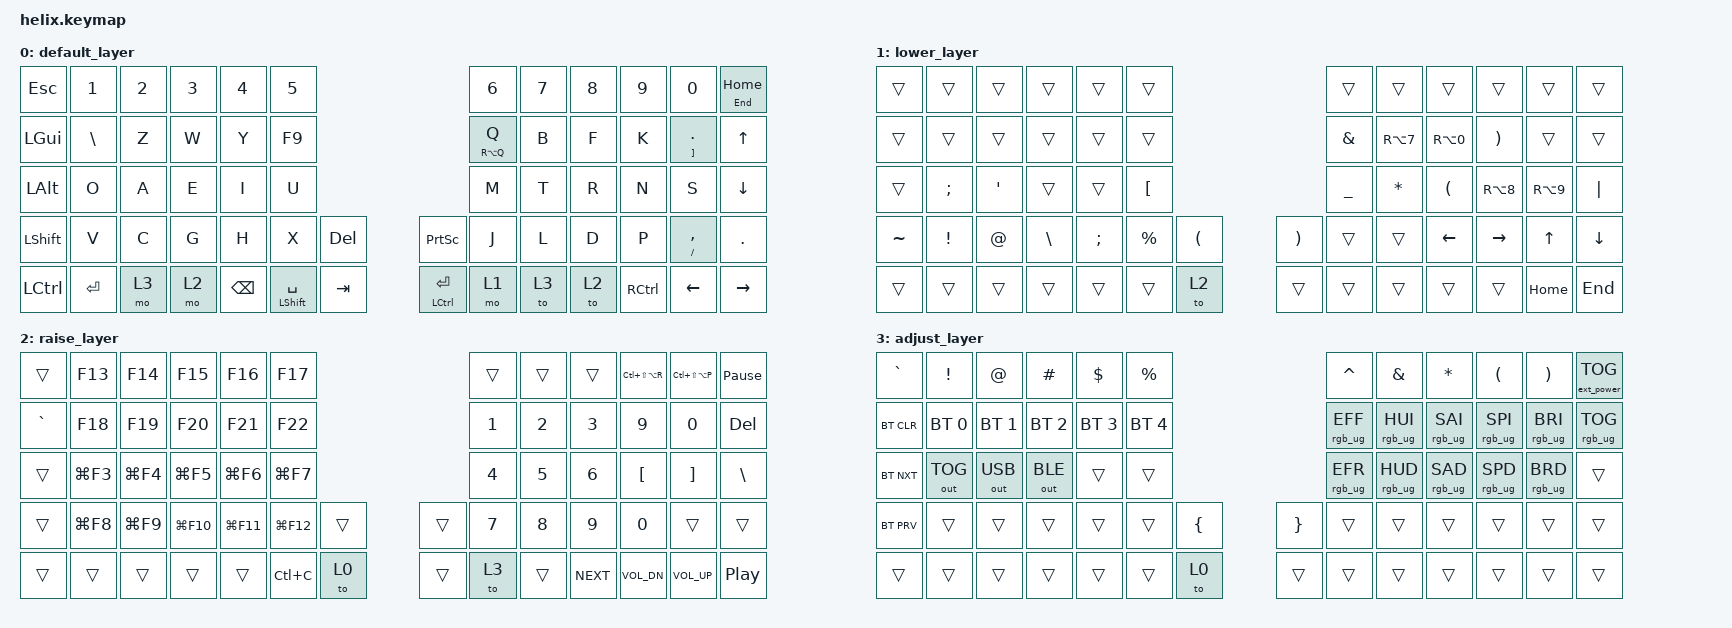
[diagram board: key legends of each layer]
/* Copyright (c) 2020 The ZMK Contributors
 * SPDX-License-Identifier: MIT   */

 #include <behaviors.dtsi>
 #include <dt-bindings/zmk/keys.h>
 #include <dt-bindings/zmk/bt.h>
 #include <dt-bindings/zmk/rgb.h>
 #include <dt-bindings/zmk/ext_power.h>
 #include <dt-bindings/zmk/outputs.h>

&mt {
    flavor = "tap-preferred";
    tapping-term-ms = <400>;
};

/ {    
       behaviors {
        hm: homerow_mods {
            compatible = "zmk,behavior-hold-tap";
            label = "HOMEROW_MODS";
            #binding-cells = <2>;
            tapping-term-ms = <300>;
            quick_tap_ms = <0>;
            flavor = "tap-preferred";
            bindings = <&kp>, <&kp>;
        };
	       td: tapdance {
            compatible = "zmk,behavior-hold-tap";
            label = "TAPDANCE";
            #binding-cells = <2>;
            tapping-term-ms = <150>;
            quick_tap_ms = <0>;
            flavor = "tap-preferred";
            bindings = <&kp>, <&kp>;
        };
       };
       keymap {
              compatible = "zmk,keymap";
 
              default_layer {
                     bindings = <
       &kp ESC     &kp N1     &kp N2     &kp N3       &kp N4        &kp N5                                                  &kp N6      &kp N7     &kp N8     &kp N9      &kp N0            &mt END HOME 
       &kp LGUI    &kp BSLH   &kp Z      &kp W        &kp Y         &kp F9                                                  &mt RA(Q) Q &kp B      &kp F      &kp K       &mt RBKT PERIOD   &kp UP
       &kp LALT    &kp O      &kp A      &kp E        &kp  I        &kp U                                              &kp M       &kp T      &kp R      &kp N       &kp S             &kp DOWN
       &kp LSHFT   &kp V      &kp C      &kp G        &kp H         &kp X              &kp DEL                &kp PSCRN     &kp J       &kp L      &kp D      &kp P       &mt SLASH COMMA   &kp PERIOD 
       &kp LCTRL   &kp RET    &mo 3      &mo 2        &kp BSPC      &mt LSHFT SPACE    &kp TAB                &hm LCTRL RET &mo 1       &to 3      &to 2      &kp RCTRL   &kp LEFT          &kp RIGHT
                     >;              };
              lower_layer {
                     bindings = <
       &trans      &trans     &trans     &trans       &trans        &trans                                                  &trans      &trans     &trans     &trans      &trans          &trans
       &trans      &trans     &trans     &trans       &trans        &trans                                                  &kp AMPS    &kp RA(N7)  &kp RA(N0) &kp RPAR   &trans          &trans
       &trans      &kp SEMI   &kp SQT    &trans       &trans        &kp LBKT                                                &kp UNDER   &kp ASTRK  &kp LPAR   &kp RA(N8)  &kp RA(N9)      &kp PIPE
       &kp TILDE   &kp EXCL   &kp AT     &kp BSLH     &kp SEMI      &kp PRCNT          &kp LPAR                &kp RPAR     &trans      &trans     &kp LEFT   &kp RIGHT   &kp UP          &kp DOWN
       &trans      &trans     &trans     &trans       &trans        &trans             &to 2                   &trans       &trans       &trans     &trans     &trans      &kp HOME        &kp END
                     >;              };
              raise_layer {
                     bindings = <
       &trans      &kp F13    &kp F14     &kp F15       &kp F16     &kp F17                                     &trans  &trans    &trans        &kp LC(LS(LA(R)))       &kp LC(LS(LA(P)))     &kp PAUSE_BREAK
       &kp GRAVE   &kp F18    &kp F19     &kp F20       &kp F21     &kp F22                                     &kp N1  &kp N2    &kp N3        &kp N9                  &kp N0                &kp DEL
       &trans      &kp LG(F3) &kp LG(F4)  &kp LG(F5)    &kp LG(F6)  &kp LG(F7)                                  &kp N4  &kp N5    &kp N6        &kp LBKT                &kp RBKT              &kp BSLH
       &trans      &kp LG(F8) &kp LG(F9)  &kp LG(F10)   &kp LG(F11) &kp LG(F12)        &trans        &trans     &kp N7  &kp N8    &kp N9        &kp N0                  &trans                &trans
       &trans      &trans     &trans      &trans        &trans      &kp LC(C)          &to 0         &trans     &to 3   &trans    &kp C_NEXT    &kp C_VOL_DN            &kp C_VOL_UP          &kp C_PP
                     >;              };
              adjust_layer {
                     bindings = <
       &kp GRAVE  &kp EXCL     &kp AT       &kp HASH     &kp DLLR     &kp PRCNT                             &kp CARET       &kp AMPS                &kp ASTRK      &kp LPAR        &kp RPAR        &ext_power EP_TOG
       &bt BT_CLR &bt BT_SEL 0 &bt BT_SEL 1 &bt BT_SEL 2 &bt BT_SEL 3 &bt BT_SEL 4                          &rgb_ug RGB_EFF &rgb_ug RGB_HUI        &rgb_ug RGB_SAI &rgb_ug RGB_SPI &rgb_ug RGB_BRI &rgb_ug RGB_TOG 
       &bt BT_NXT &out OUT_TOG &out OUT_USB &out OUT_BLE &trans       &trans                                &rgb_ug RGB_EFR &rgb_ug RGB_HUD        &rgb_ug RGB_SAD &rgb_ug RGB_SPD &rgb_ug RGB_BRD &trans
       &bt BT_PRV &trans       &trans       &trans       &trans       &trans       &kp LBRC        &kp RBRC &trans          &trans                 &trans          &trans          &trans          &trans
       &trans     &trans       &trans       &trans       &trans       &trans       &to 0           &trans   &trans          &trans                 &trans          &trans          &trans          &trans
                     >;              };
       };
};
